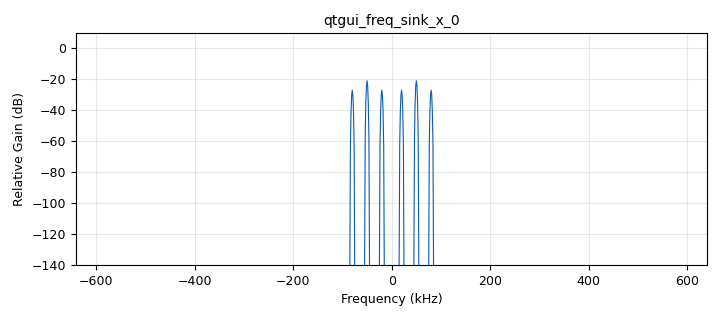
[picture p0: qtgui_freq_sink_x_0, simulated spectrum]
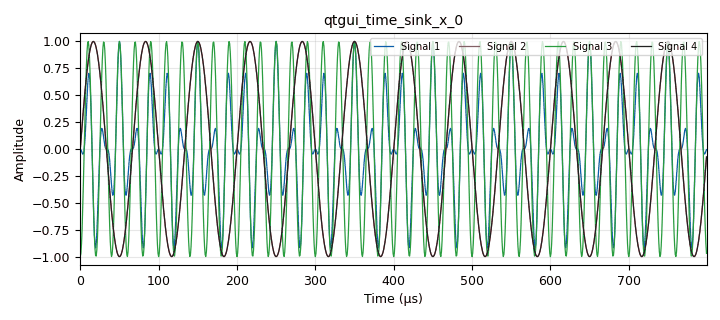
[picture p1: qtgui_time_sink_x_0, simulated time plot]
options:
  parameters:
    generate_options: qt_gui
    id: Lab1_Grupo04_act3
    output_language: python
    title: Lab1_Grupo04_act3
  states: {}

blocks:
- name: samp_rate
  id: variable
  parameters:
    value: 160000*8
  states: {}
- name: analog_sig_source_x_0
  id: analog_sig_source_x
  parameters:
    amp: '1'
    freq: '15000'
    offset: '0'
    phase: '0'
    samp_rate: samp_rate
    type: float
    waveform: analog.GR_COS_WAVE
  states: {}
- name: analog_sig_source_x_1
  id: analog_sig_source_x
  parameters:
    amp: '1'
    freq: '50000'
    offset: '0'
    phase: '0'
    samp_rate: samp_rate
    type: float
    waveform: analog.GR_COS_WAVE
  states: {}
- name: analog_sig_source_x_2
  id: analog_sig_source_x
  parameters:
    amp: '1'
    freq: '15000'
    offset: '0'
    phase: '0'
    samp_rate: samp_rate
    type: float
    waveform: analog.GR_COS_WAVE
  states: {}
- name: blocks_multiply_xx_0
  id: blocks_multiply_xx
  parameters:
    num_inputs: '3'
    type: float
  states: {}
- name: qtgui_freq_sink_x_0
  id: qtgui_freq_sink_x
  parameters:
    bw: samp_rate
    fc: '0'
    fftsize: '1024'
    type: float
    wintype: firdes.WIN_BLACKMAN_hARRIS
  states: {}
- name: qtgui_time_sink_x_0
  id: qtgui_time_sink_x
  parameters:
    nconnections: '4'
    size: '1024'
    srate: samp_rate
    type: float
  states: {}

connections:
- [analog_sig_source_x_0, '0', blocks_multiply_xx_0, '0']
- [analog_sig_source_x_0, '0', qtgui_time_sink_x_0, '1']
- [analog_sig_source_x_1, '0', blocks_multiply_xx_0, '1']
- [analog_sig_source_x_1, '0', qtgui_time_sink_x_0, '2']
- [analog_sig_source_x_2, '0', blocks_multiply_xx_0, '2']
- [analog_sig_source_x_2, '0', qtgui_time_sink_x_0, '3']
- [blocks_multiply_xx_0, '0', qtgui_freq_sink_x_0, '0']
- [blocks_multiply_xx_0, '0', qtgui_time_sink_x_0, '0']

metadata:
  file_format: 1
